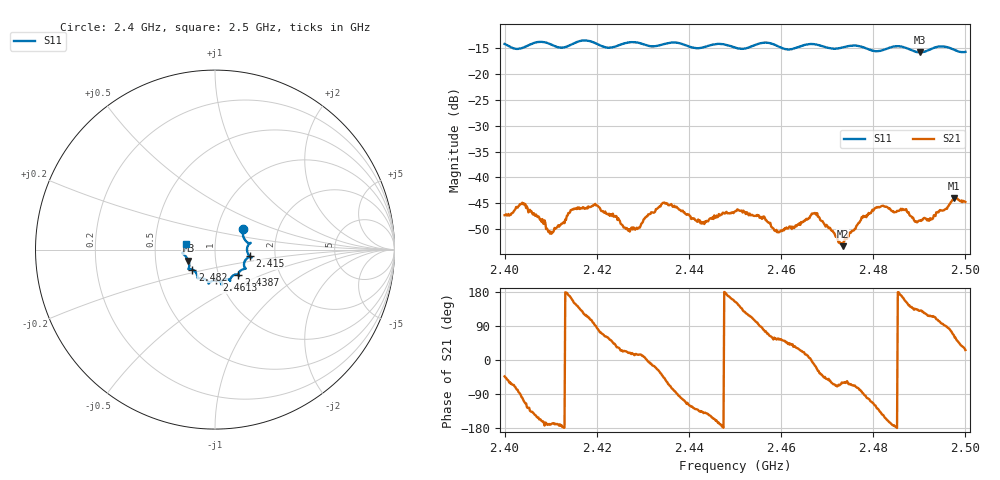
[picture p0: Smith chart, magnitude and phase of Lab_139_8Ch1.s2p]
# Hz S RI R
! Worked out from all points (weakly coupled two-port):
!   601 points, 2.4 GHz to 2.5 GHz, reference 50 ohm
!   highest |S21| = -43.94 dB at 2.4975 GHz (marker M1); lowest = -53.2 dB at 2.4733 GHz (marker M2)
!   lowest |S11| = -15.9 dB at 2.4902 GHz (marker M3), VSWR 1.38, Z = 36.9 - j4.67 ohm
!   |S11| at or under -10 dB: start of sweep to end of sweep
!   S12 and S22 are empty: the file has one direction only
!   S11 on the Smith chart (normalised r, x): 2.4 GHz: 1.33, +0.31; 2.415 GHz: 1.47, -0.11; 2.4387 GHz: 1.24, -0.36; 2.4613 GHz: 0.96, -0.34; 2.482 GHz: 0.76, -0.17; 2.5 GHz: 0.72, +0.05
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2.4e9  0.158 0.1121  0.00315 -0.00297  0 0  0 0
2.404e9  0.1715 0.048  -0.00132 -0.00537  0 0  0 0
2.41e9  0.1895 0.031  -0.00296 -0.000504  0 0  0 0
2.415e9  0.1924 -0.0363  -0.00441 0.00235  0 0  0 0
2.416667e9  0.2034 -0.044  -0.00328 0.00386  0 0  0 0
2.42e9  0.1897 -0.0424  0.000447 0.00536  0 0  0 0
2.426833e9  0.1705 -0.1046  0.0029 0.000988  0 0  0 0
2.433333e9  0.1322 -0.1314  0.00457 -0.00226  0 0  0 0
2.438667e9  0.1306 -0.1413  -0.00117 -0.00464  0 0  0 0
2.443e9  0.091 -0.154  -0.0027 -0.00248  0 0  0 0
2.45e9  0.0688 -0.1649  -0.00423 0.00207  0 0  0 0
2.456e9  0.0366 -0.195  0.0005 0.00399  0 0  0 0
2.459167e9  0.032 -0.1825  0.00169 0.00243  0 0  0 0
2.461333e9  0.00781 -0.1714  0.00226 0.0023  0 0  0 0
2.466667e9  -0.035 -0.19  0.00447 -0.000222  0 0  0 0
2.473333e9  -0.0813 -0.1596  0.00106 -0.0019  0 0  0 0
2.477833e9  -0.0977 -0.1509  0.000129 -0.00426  0 0  0 0
2.482e9  -0.1258 -0.1116  -0.00433 -0.00311  0 0  0 0
2.483333e9  -0.1394 -0.1086  -0.00477 -0.00154  0 0  0 0
2.490167e9  -0.1481 -0.0618  -0.00248 0.00294  0 0  0 0
2.4975e9  -0.1702 -0.00639  0.00267 0.00577  0 0  0 0
2.5e9  -0.159 0.0324  0.0052 0.00257  0 0  0 0
